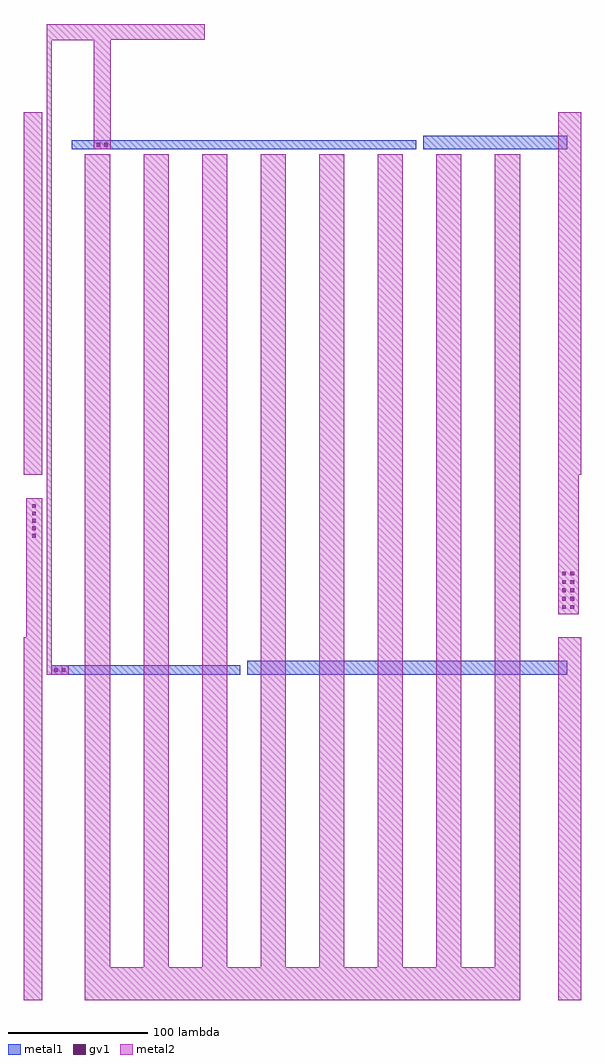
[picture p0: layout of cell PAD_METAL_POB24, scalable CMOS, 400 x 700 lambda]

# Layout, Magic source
magic
tech scmos
magscale 1 6
<< metal1 >>
rect 207 3660 1689 3700
rect 1719 3660 2340 3720
rect 119 1400 933 1440
rect 963 1400 2340 1460
<< metal2 >>
rect 100 4132 780 4200
rect 100 4131 374 4132
rect 0 2260 80 3820
rect 12 1560 80 2160
rect 0 0 80 1560
rect 100 1440 120 4131
rect 302 3660 374 4131
rect 100 1400 195 1440
rect 264 140 372 3640
rect 516 140 624 3640
rect 768 140 876 3640
rect 1020 140 1128 3640
rect 1272 140 1380 3640
rect 1524 140 1632 3640
rect 1776 140 1884 3640
rect 2028 140 2136 3640
rect 2300 2260 2400 3820
rect 2300 1660 2388 2260
rect 264 0 2136 140
rect 2300 0 2400 1560
use VIA1  VIA1_0
transform 1 0 354 0 1 3680
box -8 -8 8 8
use VIA1  VIA1_1
transform 1 0 322 0 1 3680
box -8 -8 8 8
use VIA1  VIA1_2
array 0 1 32 0 0 0
transform 1 0 139 0 1 1420
box -8 -8 8 8
use VIA1  VIA1_3
array 0 1 36 0 4 36
transform 1 0 2325 0 1 1691
box -8 -8 8 8
use VIA1  VIA1_4
array 0 0 0 0 4 32
transform 1 0 45 0 1 1998
box -8 -8 8 8
<< end >>

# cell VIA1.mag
magic
tech scmos
magscale 1 3
<< gv1 >>
rect -4 -4 4 4
<< end >>
